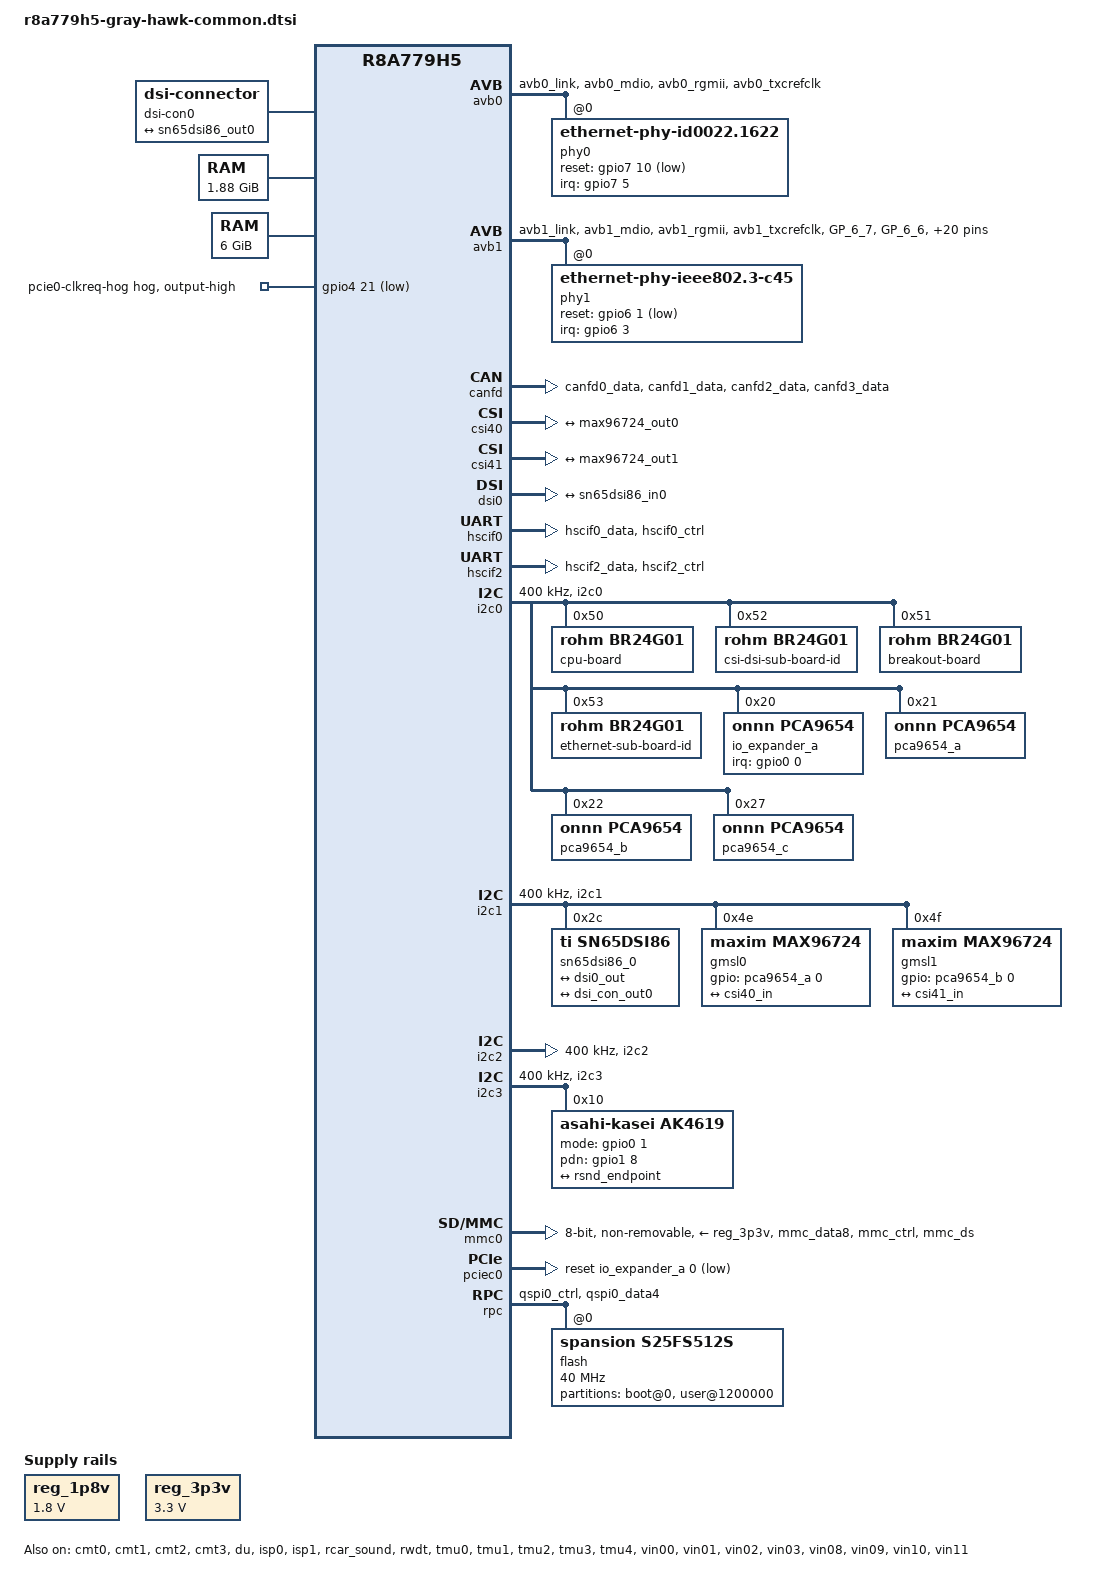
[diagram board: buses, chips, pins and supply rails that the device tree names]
// SPDX-License-Identifier: (GPL-2.0-only OR BSD-2-Clause)
/*
 * Device Tree Source for the common parts Gray Hawk Single boards
 *
 * Copyright (C) 2024 Renesas Electronics Corp.
 */

#include <dt-bindings/gpio/gpio.h>
#include <dt-bindings/input/input.h>
#include <dt-bindings/media/video-interfaces.h>

/ {
	aliases {
		serial0 = &hscif0;
		ethernet0 = &avb0;
		serial1 = &hscif2;
	};

	chosen {
		bootargs = "ignore_loglevel rw root=/dev/nfs ip=on";
		stdout-path = "serial0:921600n8";
	};

	cmem {
		memory-region = <&vdsp0_region>, <&vdsp1_region>,
				<&vdsp2_region>, <&vdsp3_region>,
				<&pap_region>, <&region_40bit>,
				<&region_40bit_ecc_off_0>, <&region_40bit_ecc_off_1>;
	};

	dsi-con0 {
		compatible = "dsi-connector";
		port {
			dsi_con_out0: endpoint {
				remote-endpoint = <&sn65dsi86_out0>;
			};
		};
	};

	memory@48000000 {
		device_type = "memory";
		/* first 128MB is reserved for secure area. */
		reg = <0x0 0x48000000 0x0 0x78000000>;
	};

	memory@480000000 {
		device_type = "memory";
		reg = <0x4 0x80000000 0x1 0x80000000>;
	};

	reg_1p8v: regulator-1p8v {
			compatible = "regulator-fixed";
			regulator-name = "fixed-1.8V";
			regulator-min-microvolt = <1800000>;
			regulator-max-microvolt = <1800000>;
			regulator-boot-on;
			regulator-always-on;
	};

	reg_3p3v: regulator-3p3v {
			compatible = "regulator-fixed";
			regulator-name = "fixed-3.3V";
			regulator-min-microvolt = <3300000>;
			regulator-max-microvolt = <3300000>;
			regulator-boot-on;
			regulator-always-on;
	};

	reserved-memory {
		#address-cells = <2>;
		#size-cells = <2>;
		ranges;

		vdsp0_region: linux,vdsp0_region@5d000000 {
			compatible = "shared-dma-pool";
			reusable;
			reg = <0x00000000 0x5d000000 0x0 0x00800000>;
		};

		vdsp1_region: linux,vdsp1_region@5d800000 {
			compatible = "shared-dma-pool";
			reusable;
			reg = <0x00000000 0x5d800000 0x0 0x00800000>;
		};

		vdsp2_region: linux,vdsp2_region@5e000000 {
			compatible = "shared-dma-pool";
			reusable;
			reg = <0x00000000 0x5e000000 0x0 0x00800000>;
		};

		vdsp3_region: linux,vdsp3_region@5e800000 {
			compatible = "shared-dma-pool";
			reusable;
			reg = <0x00000000 0x5e800000 0x0 0x00800000>;
		};

		pap_region: linux,pap_region@5f000000 {
			compatible = "shared-dma-pool";
			reusable;
			reg = <0x00000000 0x5f000000 0x0 0x00400000>;
		};

		/* global autoconfigured region for contiguous allocations */
		linux,cma@80000000 {
			compatible = "shared-dma-pool";
			reusable;
			reg = <0x00000000 0x80000000 0x0 0x23000000>;
			linux,cma-default;
		};

		region_40bit_ecc_off_0: ecc_off_region@4b00000000 {
			compatible = "shared-dma-pool";
			no-map;
			reg = <0x4 0xb0000000 0x0 0x10000000>;
		};

		region_40bit_ecc_off_1: ecc_off_region@4c00000000 {
			compatible = "shared-dma-pool";
			no-map;
			reg = <0x4 0xc0000000 0x0 0x10000000>;
		};

		region_40bit: linux,region_40bit@500000000 {
			compatible = "shared-dma-pool";
			reusable;
			reg = <0x5 0x00000000 0x0 0x40000000>;
		};

		ecc_data_region@4d0000000 {
			no-map;
			reg = <0x4 0xd0000000 0x0 0x30000000>;
		};

		ecc_data_region@5b0000000 {
			no-map;
			reg = <0x5 0xb0000000 0x0 0x50000000>;
		};
	};

	sound_card: sound {
		compatible = "audio-graph-card";

		label = "rcar-sound";
		dais = <&rsnd_port0>;	/* AK4619 Audio Codec */
	};
};

&avb0 {
	pinctrl-0 = <&avb0_pins>;
	pinctrl-names = "default";
	phy-handle = <&phy0>;
	tx-internal-delay-ps = <2000>;
	status = "okay";

	phy0: ethernet-phy@0 {
		compatible = "ethernet-phy-id0022.1622",
			     "ethernet-phy-ieee802.3-c22";
		rxc-skew-ps = <1500>;
		reg = <0>;
		interrupt-parent = <&gpio7>;
		interrupts = <5 IRQ_TYPE_LEVEL_LOW>;
		reset-gpios = <&gpio7 10 GPIO_ACTIVE_LOW>;
	};
};

&avb1 {
	pinctrl-0 = <&avb1_pins>;
	pinctrl-names = "default";
	phy-handle = <&phy1>;
	status = "okay";
	phy-reset-gpios = <&gpio6 1 GPIO_ACTIVE_LOW>;

	phy1: ethernet-phy@1 {
		compatible = "ethernet-phy-ieee802.3-c45";
		reg = <0>;
		interrupt-parent = <&gpio6>;
		interrupts = <3 IRQ_TYPE_LEVEL_LOW>;
		reset-gpios = <&gpio6 1 GPIO_ACTIVE_LOW>;
	};
};

&audio_clkin {
	clock-frequency = <24576000>;
};

&canfd {
	pinctrl-0 = <&canfd0_pins>, <&canfd1_pins>,
		<&canfd2_pins>, <&canfd3_pins>;
		pinctrl-names = "default";
	status = "okay";

	channel0 {
		status = "okay";
	};

	channel1 {
		status = "okay";
	};

	channel2 {
		status = "okay";
	};

	channel3 {
		status = "okay";
	};
};

&cmt0 {
	status = "okay";
};

&cmt1 {
	status = "okay";
};

&cmt2 {
	status = "okay";
};

&cmt3 {
	status = "okay";
};

&csi40 {
	status = "okay";

	ports {
		#address-cells = <1>;
		#size-cells = <0>;

		port@0 {
			reg = <0>;

			csi40_in: endpoint {
				bus-type = <MEDIA_BUS_TYPE_CSI2_DPHY>;
				clock-lanes = <0>;
				data-lanes = <1 2 3 4>;
				remote-endpoint = <&max96724_out0>;
			};
		};
	};
};

&csi41 {
	status = "okay";

	ports {
		#address-cells = <1>;
		#size-cells = <0>;

		port@0 {
			reg = <0>;

			csi41_in: endpoint {
				bus-type = <MEDIA_BUS_TYPE_CSI2_DPHY>;
				clock-lanes = <0>;
				data-lanes = <1 2 3 4>;
				remote-endpoint = <&max96724_out1>;
			};
		};
	};
};

&dsi0 {
	status = "okay";
	use-extal-clk;

	ports {
		port@1 {
			endpoint {
				remote-endpoint = <&sn65dsi86_in0>;
				data-lanes = <1 2 3 4>;
			};
		};
	};
};

&du {
	status = "okay";
};

&extal_clk {
	clock-frequency = <16666666>;
};

&extalr_clk {
	clock-frequency = <32768>;
};

&gpio4 {
	pcie0-clkreq-hog {
		gpio-hog;
		gpios = <21 GPIO_ACTIVE_LOW>;
		output-high;
	};
};

&hscif0 {
	pinctrl-0 = <&hscif0_pins>;
	pinctrl-names = "default";

	uart-has-rtscts;
	/* Please use exclusively to the scif0 node */
	status = "okay";
};

&hscif2 {
	pinctrl-0 = <&hscif2_pins>;
	pinctrl-names = "default";
	uart-has-rtscts;
	status = "okay";
};

&i2c0 {
	pinctrl-0 = <&i2c0_pins>;
	pinctrl-names = "default";

	status = "okay";
	clock-frequency = <400000>;

	eeprom@50 {
		compatible = "rohm,br24g01", "atmel,24c01";
		label = "cpu-board";
		reg = <0x50>;
		pagesize = <8>;
	};

	eeprom@52 {
		compatible = "rohm,br24g01", "atmel,24c01";
		label = "csi-dsi-sub-board-id";
		reg = <0x52>;
		pagesize = <8>;
	};

	eeprom@51 {
		compatible = "rohm,br24g01", "atmel,24c01";
		label = "breakout-board";
		reg = <0x51>;
		pagesize = <8>;
	};

	eeprom@53 {
		compatible = "rohm,br24g01", "atmel,24c01";
		label = "ethernet-sub-board-id";
		reg = <0x53>;
		pagesize = <8>;
	};

	io_expander_a: gpio@20 {
		compatible = "onnn,pca9654";
		reg = <0x20>;
		interrupt-parent = <&gpio0>;
		interrupts = <0 IRQ_TYPE_LEVEL_LOW>;
		gpio-controller;
		#gpio-cells = <2>;
		interrupt-controller;
		#interrupt-cells = <2>;
	};

	pca9654_a: gpio@21 {
		compatible = "onnn,pca9654";
		reg = <0x21>;
		gpio-controller;
		#gpio-cells = <2>;
	};

	pca9654_b: gpio@22 {
		compatible = "onnn,pca9654";
		reg = <0x22>;
		gpio-controller;
		#gpio-cells = <2>;
	};

	pca9654_c: gpio@27 {
		compatible = "onnn,pca9654";
		reg = <0x27>;
		gpio-controller;
		#gpio-cells = <2>;
	};
};

&i2c1 {
	pinctrl-0 = <&i2c1_pins>;
	pinctrl-names = "default";

	status = "okay";
	clock-frequency = <400000>;

	sn65dsi86_0@2c {
		compatible = "ti,sn65dsi86";
		reg = <0x2c>;
		dp-connector;
		clocks = <&ref_clk>;
		clock-names = "refclk";
		no-use-gpio;
		no-use-scramble;
		hpd-poll;
		status = "okay";

		ports {
		#address-cells = <1>;
		#size-cells = <0>;

			port@0 {
				reg = <0>;
				sn65dsi86_in0: endpoint {
					remote-endpoint = <&dsi0_out>;
				};
			};

			port@1 {
				reg = <1>;
				sn65dsi86_out0: endpoint {
					remote-endpoint = <&dsi_con_out0>;
				};
			};
		};
	};

	gmsl0: gmsl-deserializer@4e {
		compatible = "maxim,max96724";
		reg = <0x4e>, <0x01>, <0x02>, <0x03>, <0x04>;
		gpios = <&pca9654_a 0 GPIO_ACTIVE_HIGH>;
		gpio-controller;
		#gpio-cells = <2>;

		ports {
			#address-cells = <1>;
			#size-cells = <0>;

			port@0 {
				reg = <0>;
				max96724_in0: endpoint {
				};
			};

			port@1 {
				reg = <1>;
				max96724_in1: endpoint {
				};
			};

			port@2 {
				reg = <2>;
				max96724_in2: endpoint {
				};
			};

			port@3 {
				reg = <3>;
				max96724_in3: endpoint {
				};
			};

			port@4 {
				reg = <4>;
				max96724_out0: endpoint {
					bus-type = <MEDIA_BUS_TYPE_CSI2_DPHY>;
					clock-lanes = <0>;
					data-lanes = <1 2 3 4>;
					remote-endpoint = <&csi40_in>;
				};
			};
		};

		i2c-mux {
			#address-cells = <1>;
			#size-cells = <0>;

			i2c@0 {
				#address-cells = <1>;
				#size-cells = <0>;
				reg = <0>;

				status = "disabled";
			};

			i2c@1 {
				#address-cells = <1>;
				#size-cells = <0>;
				reg = <1>;

				status = "disabled";
			};

			i2c@2 {
				#address-cells = <1>;
				#size-cells = <0>;
				reg = <2>;

				status = "disabled";
			};

			i2c@3 {
				#address-cells = <1>;
				#size-cells = <0>;
				reg = <3>;

				status = "disabled";
			};
		};
	};

	gmsl1: gmsl-deserializer@4f {
		compatible = "maxim,max96724";
		reg = <0x4f>, <0x05>, <0x06>, <0x07>, <0x08>;
		gpios = <&pca9654_b 0 GPIO_ACTIVE_HIGH>;
		gpio-controller;
		#gpio-cells = <2>;

		ports {
			#address-cells = <1>;
			#size-cells = <0>;

			port@0 {
				reg = <0>;
				max96724_in4: endpoint {
				};
			};

			port@1 {
				reg = <1>;
				max96724_in5: endpoint {
				};
			};

			port@2 {
				reg = <2>;
				max96724_in6: endpoint {
				};
			};

			port@3 {
				reg = <3>;
				max96724_in7: endpoint {
				};
			};

			port@4 {
				reg = <4>;
				max96724_out1: endpoint {
					bus-type = <MEDIA_BUS_TYPE_CSI2_DPHY>;
					clock-lanes = <0>;
					data-lanes = <1 2 3 4>;
					remote-endpoint = <&csi41_in>;
				};
			};
		};

		i2c-mux {
			#address-cells = <1>;
			#size-cells = <0>;

			i2c@0 {
				#address-cells = <1>;
				#size-cells = <0>;
				reg = <0>;

				status = "disabled";
			};

			i2c@1 {
				#address-cells = <1>;
				#size-cells = <0>;
				reg = <1>;

				status = "disabled";
			};

			i2c@2 {
				#address-cells = <1>;
				#size-cells = <0>;
				reg = <2>;

				status = "disabled";
			};

			i2c@3 {
				#address-cells = <1>;
				#size-cells = <0>;
				reg = <3>;

				status = "disabled";
			};
		};
	};
};

&i2c2 {
	pinctrl-0 = <&i2c2_pins>;
        pinctrl-names = "default";

        status = "okay";
        clock-frequency = <400000>;
};

&i2c3 {
	pinctrl-0 = <&i2c3_pins>;
	pinctrl-names = "default";

	status = "okay";
	clock-frequency = <400000>;

	ak4619@10 {
		compatible = "asahi-kasei,ak4619";

		#sound-dai-cells = <0>;
		#address-cells = <1>;
		#size-cells = <0>;

		reg = <0x10>;

		clocks = <&rcar_sound>;
		clock-names = "mclk";
		mode-gpios = <&gpio0 1 GPIO_ACTIVE_HIGH>;
		pdn-gpios = <&gpio1 8 GPIO_ACTIVE_HIGH>;

		port@0 {
			ak4619_endpoint: endpoint {
				remote-endpoint = <&rsnd_endpoint>;
			};
		};
	};
};

&isp0 {
	status = "okay";
};

&isp1 {
	status = "okay";
};

&mmc0 {
	pinctrl-0 = <&mmc_pins>;
	pinctrl-1 = <&mmc_pins>;
	pinctrl-names = "default", "state_uhs";

	vmmc-supply = <&reg_3p3v>;
	vqmmc-supply = <&reg_1p8v>;
	mmc-hs200-1_8v;
	mmc-hs400-1_8v;
	bus-width = <8>;
	no-sd;
	no-sdio;
	non-removable;
	full-pwr-cycle-in-suspend;
	status = "okay";
};

&pciec0 {
	reset-gpio = <&io_expander_a 0 GPIO_ACTIVE_LOW>;
	status = "okay";
};

&pciec0_ep {
	status = "disabled";
};

&pfc {
	pinctrl-0 = <&scif_clk_pins>;
	pinctrl-names = "default";

	avb0_pins: avb0 {
		mux {
			groups = "avb0_link", "avb0_mdio", "avb0_rgmii",
				 "avb0_txcrefclk";
			function = "avb0";
		};

		pins_mdio {
			groups = "avb0_mdio";
			drive-strength = <21>;
		};

		pins_mii {
			groups = "avb0_rgmii";
			drive-strength = <21>;
		};
	};

	avb1_pins: avb1 {
		mux {
			groups = "avb1_link", "avb1_mdio", "avb1_rgmii",
				"avb1_txcrefclk";
			function = "avb1";
		};

		pins_mdio {
			groups = "avb1_mdio";
			drive-strength = <24>;
		};

		pins_mii_tx {
			pins = "GP_6_7", "GP_6_6",
				"GP_6_13", "GP_6_12",
				"GP_6_16", "GP_6_18";
			drive-strength = <24>;
		};

		pin_tx_ctl {
			pins = "GP_6_7";
			bias-pull-up;
		};

		pins_puen_disable {
			pins = "GP_6_0", "GP_6_1", "GP_6_2", "GP_6_3", "GP_6_4",
				"GP_6_5", "GP_6_6", "GP_6_8", "GP_6_9", "GP_6_10",
				"GP_6_11", "GP_6_12", "GP_6_13", "GP_6_14", "GP_6_15",
				"GP_6_16", "GP_6_17", "GP_6_18", "GP_6_19", "GP_6_20";
			bias-disable;
		};
	};

	canfd0_pins: canfd0 {
		groups = "canfd0_data";
		function = "canfd0";
	};

	canfd1_pins: canfd1 {
		groups = "canfd1_data";
		function = "canfd1";
	};

	canfd2_pins: canfd2 {
		groups = "canfd2_data";
		function = "canfd2";
	};

	canfd3_pins: canfd3 {
		groups = "canfd3_data";
		function = "canfd3";
	};

	hscif2_pins: hscif2 {
		groups = "hscif2_data", "hscif2_ctrl";
		function = "hscif2";
	};

	hscif0_pins: hscif0 {
		groups = "hscif0_data", "hscif0_ctrl";
		function = "hscif0";
	};

	i2c0_pins: i2c0 {
		groups = "i2c0";
		function = "i2c0";
	};

	i2c1_pins: i2c1 {
		groups = "i2c1";
		function = "i2c1";
	};

	i2c2_pins: i2c2 {
                groups = "i2c2";
                function = "i2c2";
        };

	i2c3_pins: i2c3 {
                groups = "i2c3";
                function = "i2c3";
        };

	mmc_pins: mmc {
		groups = "mmc_data8", "mmc_ctrl", "mmc_ds";
		function = "mmc";
		power-source = <1800>;
	};

	qspi0_pins: qspi0 {
		groups = "qspi0_ctrl", "qspi0_data4";
		function = "qspi0";
	};

	scif_clk_pins: scif_clk {
		groups = "scif_clk";
		function = "scif_clk";
	};

	scif_clk2_pins: scif_clk2 {
		groups = "scif_clk2";
		function = "scif_clk2";
	};

	scif0_pins: scif0 {
		groups = "scif0_data", "scif0_ctrl";
		function = "scif0";
	};

	sound_pins: sound {
		groups = "ssi_ctrl", "ssi_data";
		function = "ssi";
	};

	sound_clk_pins: sound_clk {
		groups = "audio_clkin", "audio_clkout";
		function = "audio_clk";
	};
};

&rcar_sound {
	pinctrl-0 = <&sound_clk_pins>, <&sound_pins>;
	pinctrl-names = "default";

	status = "okay";
	/* Single DAI */
	#sound-dai-cells = <0>;

	/* audio_clkout0 */
	#clock-cells = <0>;
	clock-frequency = <12288000>;

	ports {
		rsnd_port0: port@0 {
			rsnd_endpoint: endpoint {
				remote-endpoint = <&ak4619_endpoint>;

				dai-format = "i2s";
				bitclock-master = <&rsnd_endpoint>;
				frame-master = <&rsnd_endpoint>;

				/* Please use exclusively to the 'capture' */
				playback = <&ssi0>;
			};
		};
	};
};

&ref_clk {
	clock-frequency = <38400000>;
};

&rpc {
	pinctrl-0 = <&qspi0_pins>;
	pinctrl-names = "default";

	flash@0 {
		compatible = "spansion,s25fs512s", "jedec,spi-nor";
		reg = <0>;
		spi-max-frequency = <40000000>;
		spi-rx-bus-width = <4>;

		partitions {
			compatible = "fixed-partitions";
			#address-cells = <1>;
			#size-cells = <1>;

			boot@0 {
				reg = <0x0 0x1200000>;
				read-only;
			};
			user@1200000 {
				reg = <0x1200000 0x2e00000>;
			};
		};
	};
};

&rwdt {
	timeout-sec = <60>;
	status = "okay";
};

&scif_clk {
	clock-frequency = <24000000>;
};

&scif_clk2 {
	clock-frequency = <24000000>;
};

&scif0 {
	pinctrl-0 = <&scif0_pins>;
	pinctrl-names = "default";

	uart-has-rtscts;
	/* Please use exclusively to the hscif0 node */
	status = "disabled";
};

&tmu0 {
	status = "okay";
};

&tmu1 {
	status = "okay";
};

&tmu2 {
	status = "okay";
};

&tmu3 {
	status = "okay";
};

&tmu4 {
	 status = "okay";
};

&vin00 {
	status = "okay";
};

&vin01 {
	status = "okay";
};

&vin02 {
	status = "okay";
};

&vin03 {
	status = "okay";
};

&vin08 {
	status = "okay";
};

&vin09 {
	status = "okay";
};

&vin10 {
	status = "okay";
};

&vin11 {
	status = "okay";
};

/* FAKRA Overlay */
#include "gray-hawk-fakra.dtsi"
